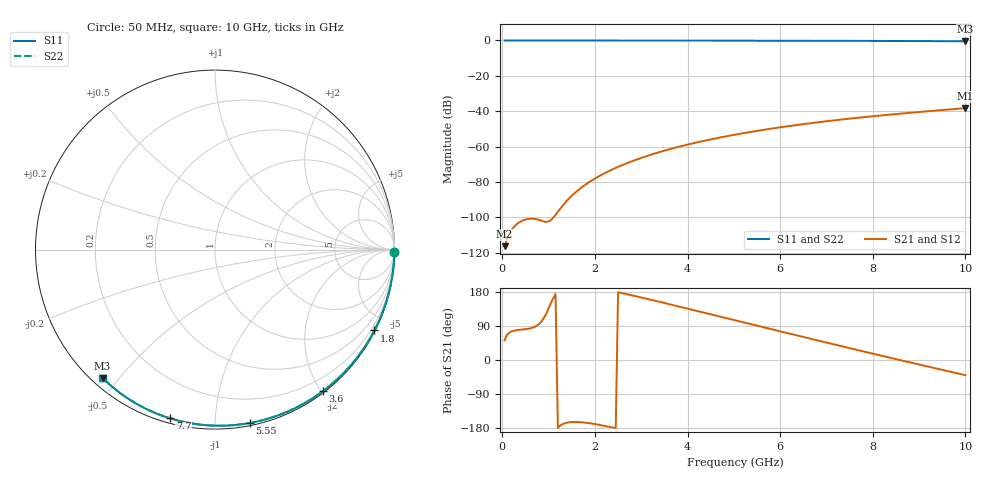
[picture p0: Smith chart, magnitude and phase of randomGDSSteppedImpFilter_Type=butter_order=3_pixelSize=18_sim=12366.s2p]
! freq	dB(S11)	phase(S11)	dB(S12)	phase(S12)
!  dB(S21)	phase(S21)	dB(S22)	phase(S22)
!S-par simulation data
#  GHz  S  DB  R 50
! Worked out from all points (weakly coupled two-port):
!   200 points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, 50 MHz to 10 GHz, reference 50 ohm
!   highest |S21| = -38.28 dB at 10 GHz (marker M1); lowest = -116.3 dB at 50 MHz (marker M2)
!   lowest |S11| = -0.4 dB at 10 GHz (marker M3), VSWR 39.13, Z = 1.54 - j22.7 ohm
!   |S11| at or under -10 dB: nowhere
!   |S22| runs from -0.4 to 0.0 dB; largest |S21 - S12| = 0
!   S11 on the Smith chart (normalised r, x): 50 MHz: open; 1.8 GHz: 0.04, -4.18; 3.6 GHz: 0.02, -2.02; 5.55 GHz: 0.02, -1.22; 7.7 GHz: 0.02, -0.77; 10 GHz: 0.03, -0.45
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0.05  -0.00 -0.8  -116.32 51.7  -116.32 51.7  -0.00 -0.8
0.9  -0.02 -13.6  -102.39 111.8  -102.39 111.8  -0.02 -13.6
1.75  -0.03 -26.2  -82.38 -164.8  -82.38 -164.8  -0.03 -26.2
1.8  -0.03 -26.9  -81.44 -165.5  -81.44 -165.5  -0.03 -26.9
1.85  -0.04 -27.6  -80.55 -166.3  -80.55 -166.3  -0.04 -27.6
1.9  -0.04 -28.4  -79.70 -167.1  -79.70 -167.1  -0.04 -28.4
2.05  -0.04 -30.5  -77.33 -170.1  -77.33 -170.1  -0.04 -30.6
2.25  -0.04 -33.4  -74.53 -174.8  -74.53 -174.8  -0.04 -33.5
2.45  -0.05 -36.3  -72.05 -179.8  -72.05 -179.8  -0.05 -36.4
2.65  -0.05 -39.2  -69.83 174.8  -69.83 174.8  -0.05 -39.2
3  -0.06 -44.2  -66.41 165.0  -66.41 165.0  -0.06 -44.2
3.4  -0.07 -49.8  -63.07 153.4  -63.07 153.4  -0.07 -49.8
3.6  -0.07 -52.6  -61.58 147.5  -61.58 147.5  -0.07 -52.6
4.3  -0.09 -62.1  -57.07 126.6  -57.07 126.6  -0.09 -62.2
5.05  -0.11 -72.1  -53.14 104.1  -53.14 104.1  -0.11 -72.1
5.55  -0.13 -78.5  -50.91 89.1  -50.91 89.1  -0.13 -78.6
6.1  -0.15 -85.5  -48.73 72.7  -48.73 72.7  -0.15 -85.5
6.7  -0.18 -92.9  -46.63 54.8  -46.63 54.8  -0.18 -93.0
7.7  -0.24 -104.9  -43.64 25.4  -43.64 25.4  -0.24 -105.0
8.35  -0.29 -112.5  -41.97 6.6  -41.97 6.6  -0.29 -112.5
9.15  -0.36 -121.6  -40.12 -16.1  -40.12 -16.1  -0.36 -121.7
10  -0.44 -131.2  -38.28 -40.1  -38.28 -40.1  -0.44 -131.3
